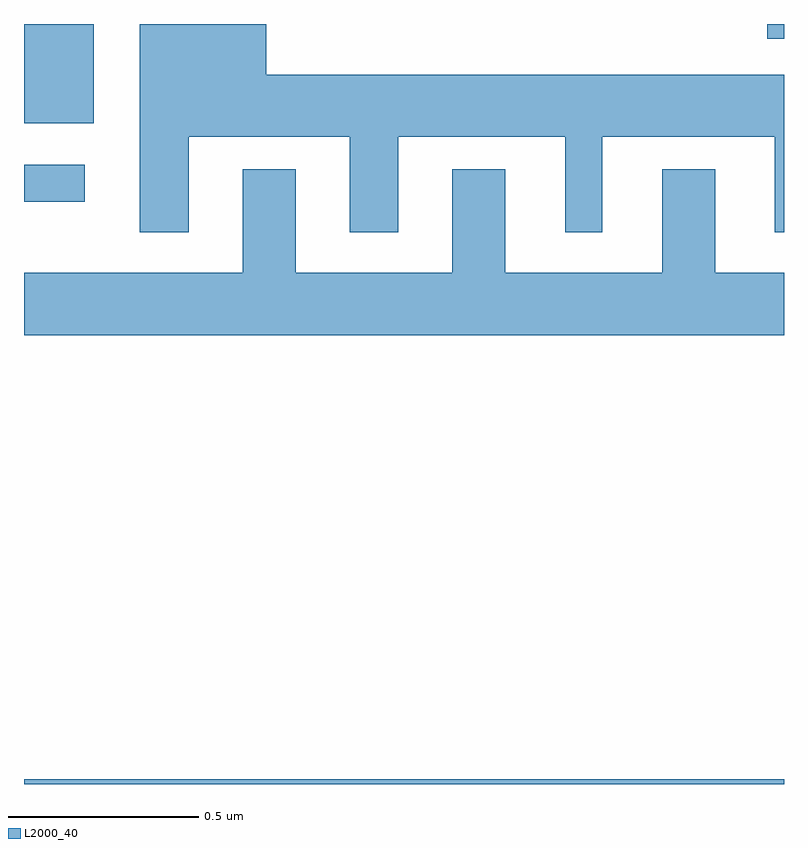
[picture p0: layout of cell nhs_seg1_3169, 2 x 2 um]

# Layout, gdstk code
import gdstk
lib = gdstk.Library(unit=1e-6, precision=1e-09)
def R(c, l, rs):  # rectangles x0, y0, x1, y1
    for r in rs: c.add(gdstk.rectangle(r[:2], r[2:], *l))
def P(c, l, *ps):  # polygons
    for p in ps: c.add(gdstk.Polygon(p, *l))
L2000_40 = (2000, 40)

nhs_seg1_3169 = lib.new_cell('nhs_seg1_3169')
R(nhs_seg1_3169, L2000_40, [(150,569.199,152,569.212), (150,570.731,150.16,570.828), (150,570.938,150.184,571.199), (151.956,571.16,152,571.199)])
P(nhs_seg1_3169, L2000_40, [(150.433,570.902),(150.857,570.902),(150.857,570.651),(150.985,570.651),(150.985,570.902),(151.424,570.902),(151.424,570.651),(151.522,570.651),(151.522,570.902),(151.976,570.902),(151.976,570.651),(152,570.651),(152,571.066),(150.637,571.066),(150.637,571.199),(150.305,571.199),(150.305,570.651),(150.433,570.651)],
  [(152,570.544),(151.819,570.544),(151.819,570.817),(151.679,570.817),(151.679,570.544),(151.267,570.544),(151.267,570.817),(151.127,570.817),(151.127,570.544),(150.715,570.544),(150.715,570.817),(150.575,570.817),(150.575,570.544),(150,570.544),(150,570.38),(152,570.38)])

lib.write_gds('nhs_seg1_3169.gds')
